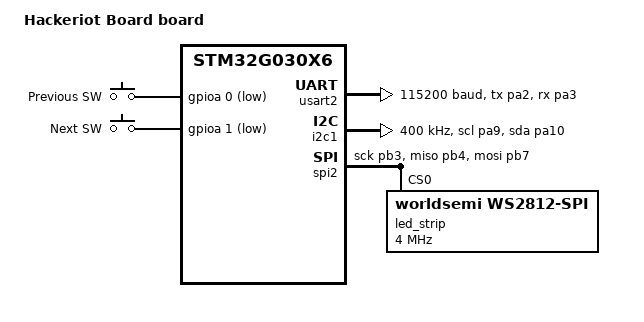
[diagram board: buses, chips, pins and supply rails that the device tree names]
/*
 * Copyright (c) 2022 Joylab AG <team@joylab.ch>
 *
 * SPDX-License-Identifier: Apache-2.0
 */

/dts-v1/;
#include <st/g0/stm32g030X6.dtsi>
#include <st/g0/stm32g030f6px-pinctrl.dtsi>
#include <zephyr/dt-bindings/led/led.h>
#include <zephyr/dt-bindings/input/input-event-codes.h>

/ {
	model = "Hackeriot Board board";
	compatible = "hackeriot,hackeriot_board";

	chosen {
		zephyr,console = &usart2;
		zephyr,shell-uart = &usart2;
		zephyr,sram = &sram0;
		zephyr,flash = &flash0;
	};
	
	buttons {
		compatible = "gpio-keys";
		previous_button: button_0 {
			label = "Previous SW";
			gpios = <&gpioa 0 GPIO_ACTIVE_LOW>;
			zephyr,code = <INPUT_KEY_0>;
		};
		next_button: button_1 {
			label = "Next SW";
			gpios = <&gpioa 1 GPIO_ACTIVE_LOW>;
			zephyr,code = <INPUT_KEY_1>;
		};
	};


	aliases {
		previous-button = &previous_button;
		next-button = &next_button;
		led-strip = &led_strip;
	};
};

&clk_hsi {
	status = "okay";
};

&pll {
	div-m = <1>;
	mul-n = <8>;
	div-r = <2>;
	clocks = <&clk_hsi>;
	status = "okay";
};

&rcc {
	clocks = <&pll>;
	clock-frequency = <DT_FREQ_M(64)>;
	ahb-prescaler = <1>;
	apb1-prescaler = <1>;
};

&usart2 {
	pinctrl-0 = <&usart2_tx_pa2 &usart2_rx_pa3>;
	pinctrl-names = "default";
	current-speed = <115200>;
	status = "okay";
};

&i2c1 {
	pinctrl-0 = <&i2c1_scl_pa9 &i2c1_sda_pa10>;
	pinctrl-names = "default";
	clock-frequency = <I2C_BITRATE_FAST>;
	status = "okay";
};

&spi2 {
	pinctrl-0 = <&spi1_sck_pb3 &spi1_miso_pb4 &spi2_mosi_pb7>;
	pinctrl-names = "default";
	status = "okay";
	led_strip: ws2812@0 {
		compatible = "worldsemi,ws2812-spi";

		/* SPI */
		reg = <0>; /* ignored, but necessary for SPI bindings */
		spi-max-frequency = <4000000>;
		frame-format = <32768>; /* SPI_FRAME_FORMAT_TI */

		/* WS2812 */
		chain-length = <4>; /* arbitrary; change at will */
		spi-one-frame = <0x70>;
		spi-zero-frame = <0x40>;
		color-mapping = <LED_COLOR_ID_GREEN
				 LED_COLOR_ID_RED
				 LED_COLOR_ID_BLUE>;
	};
};
